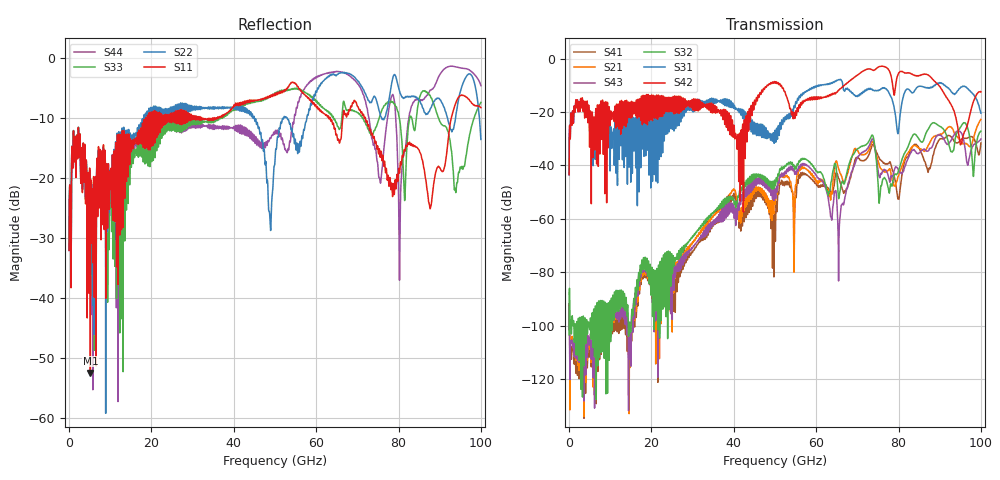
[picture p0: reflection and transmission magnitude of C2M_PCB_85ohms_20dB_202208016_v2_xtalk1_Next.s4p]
! Info: Touchstone file created by Circ.  Input file=Intel_C2M_200G_7p0in_202208016_staggered.circ
# Hz S RI R 50
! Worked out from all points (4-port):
!   10000 points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, 10 MHz to 100 GHz, reference 50 ohm
!   strongest paths, dB at 10 MHz, 25.01 GHz, 50.01 GHz, 75.01 GHz, 100 GHz:
!     S42: -43.5, -18.0, -9.1, -3.3, -12.5
!     S31: -43.5, -21.9, -26.9, -12.0, -20.5
!     S32: -103.4, -78.2, -46.3, -45.9, -27.2
!     S43: -92.9, -83.0, -49.1, -41.7, -30.1
!     S21: -92.5, -89.8, -53.2, -38.3, -22.7
!     S41: -91.8, -85.7, -60.0, -36.5, -31.7
!   lowest |S11| = -52.5 dB at 5.17 GHz (marker M1), VSWR 1.00, Z = 50.2 + j0.168 ohm
!   |S11| at or under -10 dB: start of sweep to 18.62 GHz; 63.38 GHz to 66.47 GHz (3.086 GHz wide, 4.75 % of centre); 71.95 GHz to 92.81 GHz (20.86 GHz wide, 25.3 % of centre)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
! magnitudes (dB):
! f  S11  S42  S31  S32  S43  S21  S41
! 10 MHz  -32.1  -43.5  -43.5  -103.4  -92.9  -92.5  -91.8
! 5.17 GHz  -52.5  -19.7  -22.3  -97.2  -103.1  -103.9  -107.0
! 41.55 GHz  -7.9  -39.7  -18.8  -50.2  -53.7  -58.9  -58.4
! 48.97 GHz  -6.4  -9.0  -30.2  -48.4  -50.5  -58.7  -59.8
! 76.1 GHz  -16.5  -2.8  -10.9  -45.5  -42.2  -41.8  -38.5
! 95.2 GHz  -6.3  -32.0  -10.7  -25.4  -27.8  -31.3  -30.3
! 100 GHz  -8.3  -12.5  -20.5  -27.2  -30.1  -22.7  -31.7
